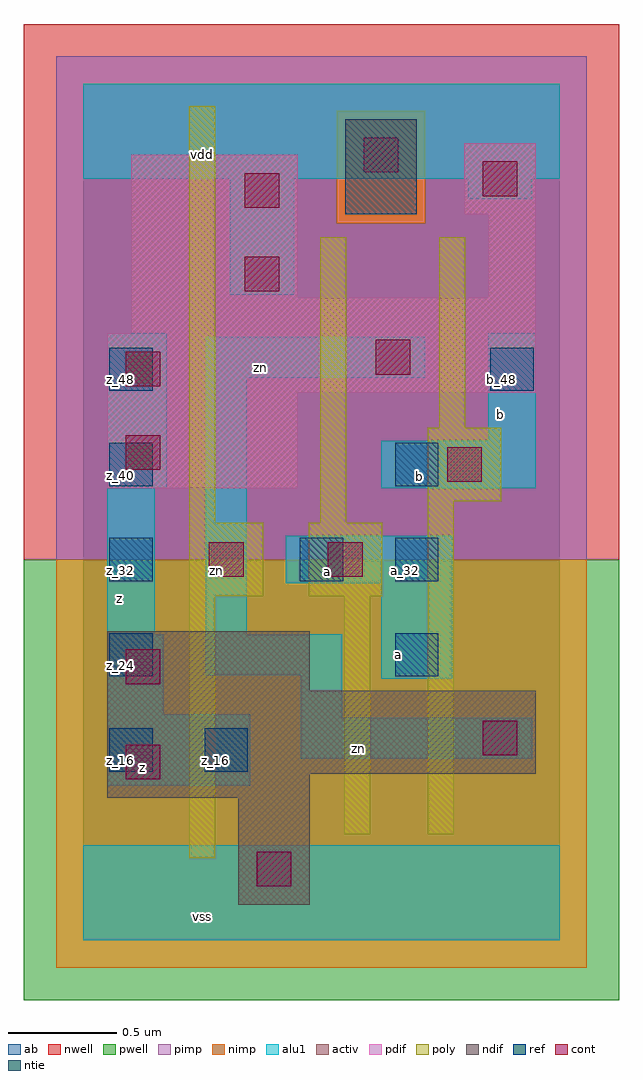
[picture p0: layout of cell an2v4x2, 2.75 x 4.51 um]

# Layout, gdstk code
import gdstk
lib = gdstk.Library(unit=1e-6, precision=2.5e-09)
def R(c, l, rs):  # rectangles x0, y0, x1, y1
    for r in rs: c.add(gdstk.rectangle(r[:2], r[2:], *l))
def A(c, l, x, y, w, h, nx, ny, dx, dy):  # array of equal rectangles
    R(c, l, [(x+i*dx, y+j*dy, x+i*dx+w, y+j*dy+h) for i in range(nx) for j in range(ny)])
ndif = (3, 0)
pdif = (4, 0)
ntie = (5, 0)
ref = (24, 0)
cont = (25, 0)
pwell = (41, 0)
nwell = (42, 0)
activ = (43, 0)
pimp = (44, 0)
nimp = (45, 0)
poly = (46, 0)
alu1 = (49, 0)
ab = (63, 0)

an2v4x2 = lib.new_cell('an2v4x2')
R(an2v4x2, ndif, [(0.715,0.165,1.045,0.66), (0.11,0.66,1.045,0.77), (0.11,0.77,2.09,1.155), (0.11,1.155,1.045,1.43)])
R(an2v4x2, pdif, [(0.11,2.09,0.99,2.53), (0.11,2.53,2.09,2.805), (0.22,2.805,2.09,2.97), (0.22,2.97,0.99,3.63), (1.87,2.97,2.09,3.355), (1.76,3.355,2.09,3.685)])
R(an2v4x2, ntie, [(1.21,3.355,1.54,3.795)])
A(an2v4x2, ref, 0.12, 0.78, 0.2, 0.2, 1, 5, 0, 0.44)
A(an2v4x2, ref, 1.44, 1.22, 0.2, 0.2, 1, 3, 0, 0.44)
R(an2v4x2, ref, [(0.56,0.78,0.76,0.98), (1,1.66,1.2,1.86), (1.88,2.54,2.08,2.74)])
R(an2v4x2, cont, [(0.8,0.25,0.96,0.41), (0.195,0.745,0.355,0.905), (1.845,0.855,2.005,1.015), (0.195,1.185,0.355,1.345), (0.58,1.68,0.74,1.84), (1.13,1.68,1.29,1.84), (1.68,2.12,1.84,2.28), (0.195,2.175,0.355,2.335), (0.195,2.56,0.355,2.72), (1.35,2.615,1.51,2.775), (0.745,3,0.905,3.16), (0.745,3.385,0.905,3.545), (1.845,3.44,2.005,3.6), (1.295,3.55,1.455,3.71)])
R(an2v4x2, pwell, [(-0.275,-0.275,2.475,1.76)])
R(an2v4x2, nwell, [(-0.275,1.76,2.475,4.235)])
R(an2v4x2, activ, [(0.715,0.165,1.045,0.66), (0.11,0.66,1.045,0.77), (0.11,0.77,2.09,1.155), (0.11,1.155,1.045,1.43), (0.11,2.09,0.99,2.53), (0.11,2.53,2.09,2.805), (0.22,2.805,2.09,2.97), (0.22,2.97,0.99,3.63), (1.87,2.97,2.09,3.355), (1.21,3.355,1.54,3.795), (1.76,3.355,2.09,3.685)])
R(an2v4x2, pimp, [(-0.125,1.76,2.325,3.315), (-0.125,3.315,1.17,3.835), (1.58,3.315,2.325,3.835), (-0.125,3.835,2.325,4.085)])
R(an2v4x2, nimp, [(-0.125,-0.125,2.325,1.76), (1.17,3.315,1.58,3.835)])
R(an2v4x2, poly, [(0.49,0.38,0.61,1.59), (1.205,0.49,1.325,1.59), (1.59,0.49,1.71,2.03), (0.49,1.59,0.83,1.93), (1.04,1.59,1.38,1.93), (0.49,1.93,0.61,3.855), (1.095,1.93,1.215,3.25), (1.59,2.03,1.93,2.37), (1.645,2.37,1.765,3.25)])
R(an2v4x2, alu1, [(0,0,2.2,0.44), (0.11,0.715,0.77,1.045), (1.005,0.84,2.075,1.03), (1.005,1.03,1.195,1.225), (0.11,1.045,0.37,1.415), (1.375,1.21,1.705,1.65), (0.565,1.225,1.195,1.415), (0.11,1.415,0.33,2.09), (0.565,1.415,0.755,2.6), (0.935,1.65,1.705,1.87), (0.11,2.09,0.385,2.805), (1.375,2.09,2.09,2.31), (1.87,2.31,2.09,2.805), (0.565,2.6,1.58,2.79), (0.675,2.985,0.975,3.52), (1.775,3.425,2.075,3.52), (0,3.52,2.2,3.96)])
R(an2v4x2, ab, [(0,0,2.2,3.96)])
an2v4x2.add(gdstk.Label('vss', (0.55,0.11), layer=49, texttype=0))
an2v4x2.add(gdstk.Label('zn', (1.2725,0.8875), layer=49, texttype=0))
an2v4x2.add(gdstk.Label('a', (1.4575,1.32), layer=49, texttype=0))
an2v4x2.add(gdstk.Label('z', (0.275,0.7975), layer=49, texttype=0))
an2v4x2.add(gdstk.Label('a', (1.1275,1.705), layer=49, texttype=0))
an2v4x2.add(gdstk.Label('b', (1.5525,2.145), layer=49, texttype=0))
an2v4x2.add(gdstk.Label('b', (1.925,2.4325), layer=49, texttype=0))
an2v4x2.add(gdstk.Label('zn', (0.6125,1.71), layer=49, texttype=0))
an2v4x2.add(gdstk.Label('z', (0.165,1.5825), layer=49, texttype=0))
an2v4x2.add(gdstk.Label('zn', (0.8175,2.6475), layer=49, texttype=0))
an2v4x2.add(gdstk.Label('vdd', (0.55,3.63), layer=49, texttype=0))
an2v4x2.add(gdstk.Label('z_16', (0.61,0.83), layer=24, texttype=0))
an2v4x2.add(gdstk.Label('a_32', (1.05,1.71), layer=24, texttype=0))
an2v4x2.add(gdstk.Label('a_24', (1.49,1.27), layer=24, texttype=0))
an2v4x2.add(gdstk.Label('a_32', (1.49,1.71), layer=24, texttype=0))
an2v4x2.add(gdstk.Label('b_40', (1.49,2.15), layer=24, texttype=0))
an2v4x2.add(gdstk.Label('b_48', (1.93,2.59), layer=24, texttype=0))
an2v4x2.add(gdstk.Label('z_16', (0.17,0.83), layer=24, texttype=0))
an2v4x2.add(gdstk.Label('z_24', (0.17,1.27), layer=24, texttype=0))
an2v4x2.add(gdstk.Label('z_32', (0.17,1.71), layer=24, texttype=0))
an2v4x2.add(gdstk.Label('z_40', (0.17,2.15), layer=24, texttype=0))
an2v4x2.add(gdstk.Label('z_48', (0.17,2.59), layer=24, texttype=0))

lib.write_gds('an2v4x2.gds')
